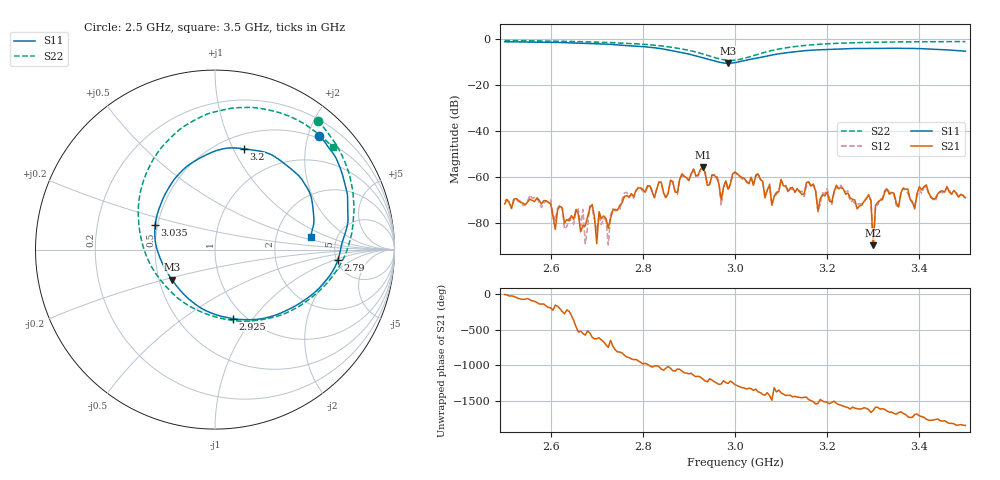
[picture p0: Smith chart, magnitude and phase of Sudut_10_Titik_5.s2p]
# Hz S RI R 50
! CMT, C1220, 16058040, 17.2.0/1
! Date: 15/08/2018 10:22:32
! Data: Format (Calibration Info)
! Freq  S11: Re/Im (F2)  S21: Re/Im (F2)  S12: Re/Im (F2)  S22: Re/Im (F2)
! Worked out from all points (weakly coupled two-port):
!   201 points, 2.5 GHz to 3.5 GHz, reference 50 ohm
!   highest |S21| = -55.69 dB at 2.93 GHz (marker M1); lowest = -89.7 dB at 3.3 GHz (marker M2)
!   lowest |S11| = -10.7 dB at 2.985 GHz (marker M3), VSWR 1.83, Z = 29.2 - j10.7 ohm
!   |S11| at or under -10 dB: 2.963 GHz to 3.009 GHz (45.85 MHz wide, 1.54 % of centre)
!   |S22| runs from -9.4 to -0.7 dB; largest |S21 - S12| = 0.00013
!   S11 on the Smith chart (normalised r, x): 2.5 GHz: 0.45, +2.20; 2.79 GHz: 5.16, -1.10; 2.925 GHz: 0.88, -0.81; 3.035 GHz: 0.48, +0.15; 3.2 GHz: 0.65, +1.10; 3.5 GHz: 3.18, +0.64
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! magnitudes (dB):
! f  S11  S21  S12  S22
! 2.5 GHz  -1.3  -71.7  -70.3  -0.7
! 2.67 GHz  -1.9  -81.0  -74.1  -1.3
! 2.69 GHz  -2.1  -71.9  -73.7  -1.4
! 2.725 GHz  -2.4  -82.2  -89.6  -1.6
! 2.79 GHz  -3.3  -64.8  -64.4  -2.3
! 2.835 GHz  -4.2  -62.2  -62.2  -3.0
! 2.925 GHz  -8.0  -56.8  -56.9  -6.3
! 2.93 GHz  -8.3  -55.7  -55.8  -6.6
! 2.96 GHz  -9.9  -60.2  -59.5  -8.4
! 2.97 GHz  -10.3  -69.9  -72.4  -8.9
! 2.985 GHz  -10.7  -65.3  -65.5  -9.3
! 3 GHz  -10.4  -58.0  -57.8  -9.3
! 3.035 GHz  -8.9  -60.2  -60.1  -7.6
! 3.08 GHz  -7.1  -72.3  -72.2  -5.1
! 3.1 GHz  -6.4  -61.1  -61.4  -4.3
! 3.17 GHz  -4.9  -63.0  -63.4  -2.6
! 3.18 GHz  -4.8  -74.6  -75.2  -2.4
! 3.2 GHz  -4.7  -66.5  -65.1  -2.2
! 3.29 GHz  -4.2  -67.7  -68.8  -1.6
! 3.3 GHz  -4.2  -89.7  -90.0  -1.5
! 3.335 GHz  -4.1  -67.5  -66.8  -1.4
! 3.5 GHz  -5.4  -69.0  -69.6  -1.2
